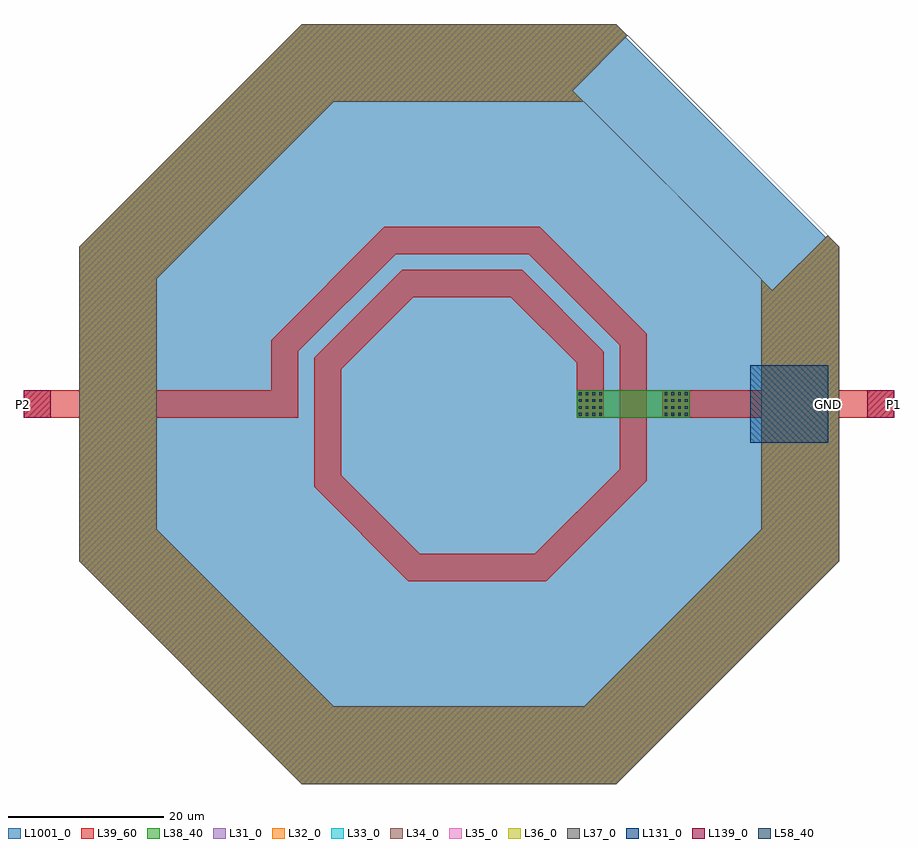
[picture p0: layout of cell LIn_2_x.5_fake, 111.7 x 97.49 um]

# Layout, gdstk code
import gdstk
lib = gdstk.Library(unit=1e-6, precision=1e-09)
def R(c, l, rs):  # rectangles x0, y0, x1, y1
    for r in rs: c.add(gdstk.rectangle(r[:2], r[2:], *l))
def A(c, l, x, y, w, h, nx, ny, dx, dy):  # array of equal rectangles
    R(c, l, [(x+i*dx, y+j*dy, x+i*dx+w, y+j*dy+h) for i in range(nx) for j in range(ny)])
def P(c, l, *ps):  # polygons
    for p in ps: c.add(gdstk.Polygon(p, *l))
L31_0 = (31, 0)
L32_0 = (32, 0)
L33_0 = (33, 0)
L34_0 = (34, 0)
L35_0 = (35, 0)
L36_0 = (36, 0)
L37_0 = (37, 0)
L38_40 = (38, 40)
L39_60 = (39, 60)
L58_40 = (58, 40)
L131_0 = (131, 0)
L139_0 = (139, 0)
L1001_0 = (1001, 0)

lin_2_x_5_fake = lib.new_cell('LIn_2_x.5_fake')
P(lin_2_x_5_fake, L31_0, [(40.21,14.585),(47.281,21.656),(20.191,48.746),(-20.191,48.746),(-48.746,20.191),(-48.746,-20.191),(-20.191,-48.746),(20.191,-48.746),(48.746,-20.191),(48.746,20.191),(21.656,47.281),(14.585,40.21),(38.746,16.049),(38.746,-16.049),(16.049,-38.746),(-16.049,-38.746),(-38.746,-16.049),(-38.746,16.049),(-16.049,38.746),(16.049,38.746)])
P(lin_2_x_5_fake, L32_0, [(40.21,14.585),(47.281,21.656),(20.191,48.746),(-20.191,48.746),(-48.746,20.191),(-48.746,-20.191),(-20.191,-48.746),(20.191,-48.746),(48.746,-20.191),(48.746,20.191),(21.656,47.281),(14.585,40.21),(38.746,16.049),(38.746,-16.049),(16.049,-38.746),(-16.049,-38.746),(-38.746,-16.049),(-38.746,16.049),(-16.049,38.746),(16.049,38.746)])
P(lin_2_x_5_fake, L33_0, [(40.21,14.585),(47.281,21.656),(20.191,48.746),(-20.191,48.746),(-48.746,20.191),(-48.746,-20.191),(-20.191,-48.746),(20.191,-48.746),(48.746,-20.191),(48.746,20.191),(21.656,47.281),(14.585,40.21),(38.746,16.049),(38.746,-16.049),(16.049,-38.746),(-16.049,-38.746),(-38.746,-16.049),(-38.746,16.049),(-16.049,38.746),(16.049,38.746)])
P(lin_2_x_5_fake, L34_0, [(40.21,14.585),(47.281,21.656),(20.191,48.746),(-20.191,48.746),(-48.746,20.191),(-48.746,-20.191),(-20.191,-48.746),(20.191,-48.746),(48.746,-20.191),(48.746,20.191),(21.656,47.281),(14.585,40.21),(38.746,16.049),(38.746,-16.049),(16.049,-38.746),(-16.049,-38.746),(-38.746,-16.049),(-38.746,16.049),(-16.049,38.746),(16.049,38.746)])
P(lin_2_x_5_fake, L35_0, [(40.21,14.585),(47.281,21.656),(20.191,48.746),(-20.191,48.746),(-48.746,20.191),(-48.746,-20.191),(-20.191,-48.746),(20.191,-48.746),(48.746,-20.191),(48.746,20.191),(21.656,47.281),(14.585,40.21),(38.746,16.049),(38.746,-16.049),(16.049,-38.746),(-16.049,-38.746),(-38.746,-16.049),(-38.746,16.049),(-16.049,38.746),(16.049,38.746)])
P(lin_2_x_5_fake, L36_0, [(40.21,14.585),(47.281,21.656),(20.191,48.746),(-20.191,48.746),(-48.746,20.191),(-48.746,-20.191),(-20.191,-48.746),(20.191,-48.746),(48.746,-20.191),(48.746,20.191),(21.656,47.281),(14.585,40.21),(38.746,16.049),(38.746,-16.049),(16.049,-38.746),(-16.049,-38.746),(-38.746,-16.049),(-38.746,16.049),(-16.049,38.746),(16.049,38.746)])
P(lin_2_x_5_fake, L37_0, [(40.21,14.585),(47.281,21.656),(20.191,48.746),(-20.191,48.746),(-48.746,20.191),(-48.746,-20.191),(-20.191,-48.746),(20.191,-48.746),(48.746,-20.191),(48.746,20.191),(21.656,47.281),(14.585,40.21),(38.746,16.049),(38.746,-16.049),(16.049,-38.746),(-16.049,-38.746),(-38.746,-16.049),(-38.746,16.049),(-16.049,38.746),(16.049,38.746)])
R(lin_2_x_5_fake, L38_40, [(15.1,-1.75,29.6,1.75)])
P(lin_2_x_5_fake, L38_40, [(40.21,14.585),(47.281,21.656),(20.191,48.746),(-20.191,48.746),(-48.746,20.191),(-48.746,-20.191),(-20.191,-48.746),(20.191,-48.746),(48.746,-20.191),(48.746,20.191),(21.656,47.281),(14.585,40.21),(38.746,16.049),(38.746,-16.049),(16.049,-38.746),(-16.049,-38.746),(-38.746,-16.049),(-38.746,16.049),(-16.049,38.746),(16.049,38.746)])
R(lin_2_x_5_fake, L39_60, [(-55.85,-1.75,-20.6,1.75), (26.1,-1.75,55.85,1.75)])
P(lin_2_x_5_fake, L39_60, [(15.1,-1.75),(18.6,-1.75),(18.6,6.73),(8.105,17.225),(-7.3,17.225),(-18.6,5.925),(-18.6,-10.62),(-6.495,-22.725),(11.19,-22.725),(24.1,-9.815),(24.1,9.01),(10.385,22.725),(-9.58,22.725),(-24.1,8.205),(-24.1,0),(-20.6,0),(-20.6,6.755),(-8.13,19.225),(8.935,19.225),(20.6,7.56),(20.6,-8.365),(9.74,-19.225),(-5.045,-19.225),(-15.1,-9.17),(-15.1,4.475),(-5.85,13.725),(6.655,13.725),(15.1,5.28)],
  [(40.21,14.585),(47.281,21.656),(20.191,48.746),(-20.191,48.746),(-48.746,20.191),(-48.746,-20.191),(-20.191,-48.746),(20.191,-48.746),(48.746,-20.191),(48.746,20.191),(21.656,47.281),(14.585,40.21),(38.746,16.049),(38.746,-16.049),(16.049,-38.746),(-16.049,-38.746),(-38.746,-16.049),(-38.746,16.049),(-16.049,38.746),(16.049,38.746)])
A(lin_2_x_5_fake, L58_40, 15.37, -1.48, 0.35, 0.35, 4, 4, 0.87, 0.87)
A(lin_2_x_5_fake, L58_40, 26.37, -1.48, 0.35, 0.35, 4, 4, 0.87, 0.87)
R(lin_2_x_5_fake, L131_0, [(37.35,-5,47.35,5)])
R(lin_2_x_5_fake, L139_0, [(-55.85,-1.75,-52.35,1.75), (52.35,-1.75,55.85,1.75)])
P(lin_2_x_5_fake, L1001_0, [(48.365,20.033),(20.033,48.365),(-20.033,48.365),(-48.365,20.033),(-48.365,-20.033),(-20.033,-48.365),(20.033,-48.365),(48.365,-20.033)],
  [(48.365,20.033),(20.033,48.365),(-20.033,48.365),(-48.365,20.033),(-48.365,-20.033),(-20.033,-48.365),(20.033,-48.365),(48.365,-20.033)],
  [(48.365,20.033),(20.033,48.365),(-20.033,48.365),(-48.365,20.033),(-48.365,-20.033),(-20.033,-48.365),(20.033,-48.365),(48.365,-20.033)],
  [(48.365,20.033),(20.033,48.365),(-20.033,48.365),(-48.365,20.033),(-48.365,-20.033),(-20.033,-48.365),(20.033,-48.365),(48.365,-20.033)],
  [(48.365,20.033),(20.033,48.365),(-20.033,48.365),(-48.365,20.033),(-48.365,-20.033),(-20.033,-48.365),(20.033,-48.365),(48.365,-20.033)],
  [(48.365,20.033),(20.033,48.365),(-20.033,48.365),(-48.365,20.033),(-48.365,-20.033),(-20.033,-48.365),(20.033,-48.365),(48.365,-20.033)],
  [(48.365,20.033),(20.033,48.365),(-20.033,48.365),(-48.365,20.033),(-48.365,-20.033),(-20.033,-48.365),(20.033,-48.365),(48.365,-20.033)],
  [(48.365,20.033),(20.033,48.365),(-20.033,48.365),(-48.365,20.033),(-48.365,-20.033),(-20.033,-48.365),(20.033,-48.365),(48.365,-20.033)],
  [(48.365,20.033),(20.033,48.365),(-20.033,48.365),(-48.365,20.033),(-48.365,-20.033),(-20.033,-48.365),(20.033,-48.365),(48.365,-20.033)])
lin_2_x_5_fake.add(gdstk.Label('P1', (55.85,0), layer=139, texttype=0))
lin_2_x_5_fake.add(gdstk.Label('P2', (-55.85,0), layer=139, texttype=0))
lin_2_x_5_fake.add(gdstk.Label('GND', (47.35,0), layer=131, texttype=0))

lib.write_gds('LIn_2_x.5_fake.gds')
